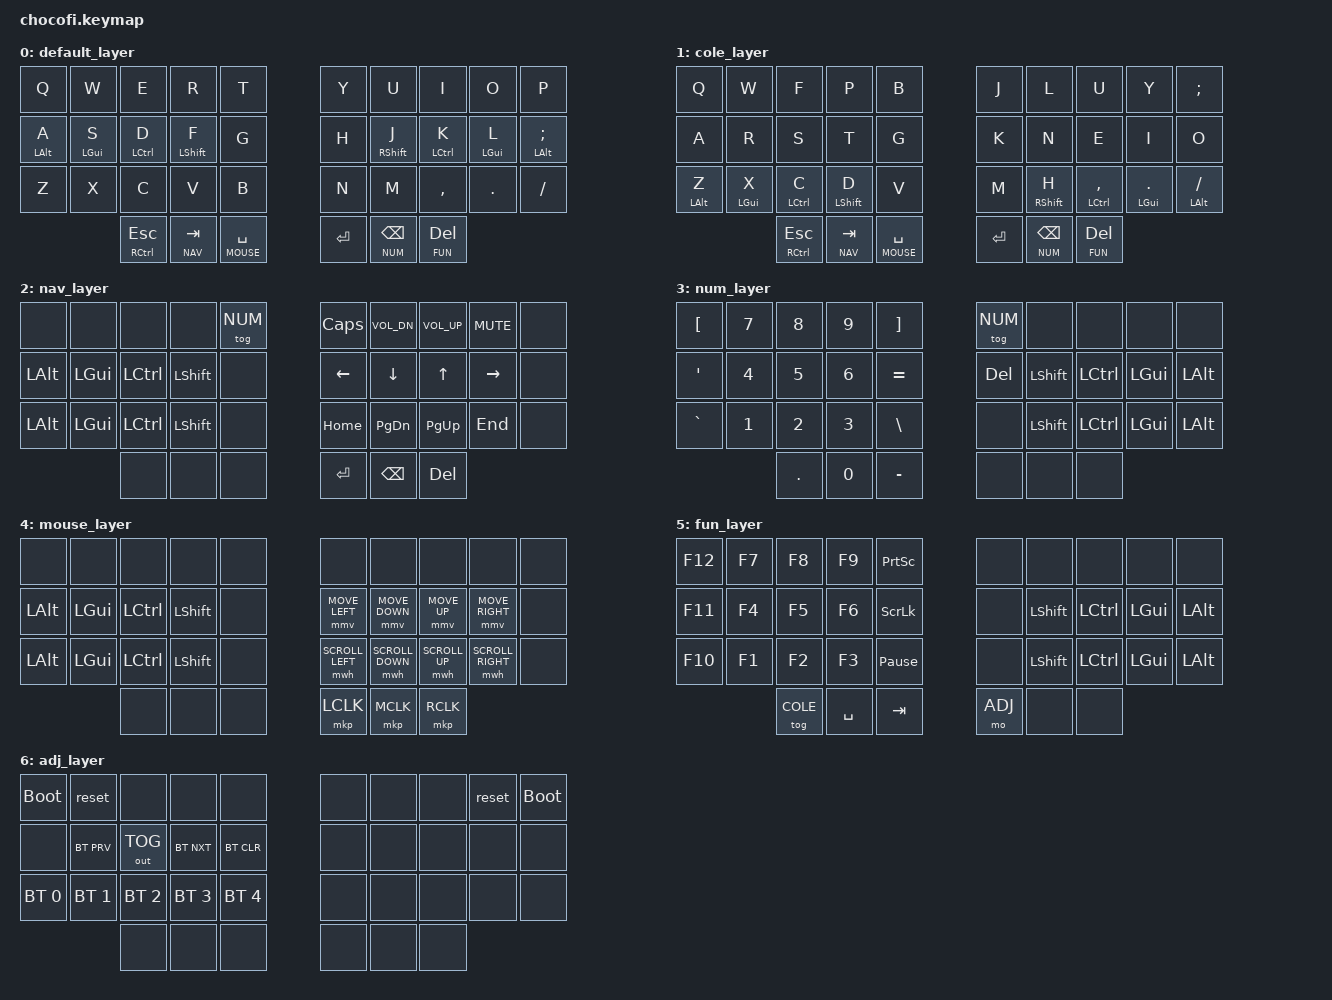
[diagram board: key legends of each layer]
/*
 * Copyright (c) 2020 The ZMK Contributors
 *
 * SPDX-License-Identifier: MIT
 */

#include <behaviors.dtsi>
#include <dt-bindings/zmk/keys.h>
#include <dt-bindings/zmk/bt.h>
#include <dt-bindings/zmk/outputs.h>
#include <dt-bindings/zmk/mouse.h>

#define BASE 0
#define COLE 1
/*#define QWER 2*/
#define NAV 2
#define NUM 3
#define MOUSE 4
#define FUN 5
#define ADJ 6

&caps_word {
        continue-list = <UNDERSCORE MINUS BACKSPACE>;
};

&mmv {
    time-to-max-speed-ms = <300>;
};

/ {        

        macros {
                my_macro: my_macro {
                        compatible = "zmk,behavior-macro";
                        label = "ZM_my_macro";
                        #binding-cells = <0>;
                        bindings = <&kp LEFT_BRACKET &kp RIGHT_BRACKET &kp LEFT>;
                };
        };

        behaviors {
                hm: homerow_mods {
                        compatible = "zmk,behavior-hold-tap";
                        label = "HOMEROW_MODS";
                        #binding-cells = <2>;
                        tapping-term-ms = <220>;
                        quick_tap_ms = <0>;
                        flavor = "tap-preferred";
                        bindings = <&kp>, <&kp>;
                };
        };
              
        combos {
                compatible = "zmk,combos";
                combo_capsword {
                        timeout-ms = <50>;
                        key-positions = <32 33> ;
                        bindings = <&caps_word>;
                };
                combo_excl {
                        timeout-ms = <50>;
                        key-positions = <0 1 2> ;
                        bindings = <&kp EXCL>;
                };
                combo_qmark {
                        timeout-ms = <50>;
                        key-positions = <7 8 9> ;
                        bindings = <&kp QMARK>;
                };
                combo_at {
                        timeout-ms = <50>;
                        key-positions = <10 11 12> ;
                        bindings = <&kp AT>;
                };
                combo_hash {
                        timeout-ms = <50>;
                        key-positions = <20 21 22> ;
                        bindings = <&kp HASH>;
                };
                combo_dollar {
                        timeout-ms = <50>;
                        key-positions = <2 3 4> ;
                        bindings = <&kp DOLLAR>;
                };
                combo_percent {
                        timeout-ms = <50>;
                        key-positions = <12 13 14> ;
                        bindings = <&kp PERCENT>;
                };
                combo_caret {
                        timeout-ms = <50>;
                        key-positions = <22 23 24> ;
                        bindings = <&kp CARET>;
                };
                combo_ampersand {
                        timeout-ms = <50>;
                        key-positions = <21 22 13> ;
                        bindings = <&kp AMPERSAND>;
                };
                combo_pipe {
                        timeout-ms = <50>;
                        key-positions = <11 22 23> ;
                        bindings = <&kp PIPE>;
                };
                combo_plus {
                        timeout-ms = <50>;
                        key-positions = <1 2 3> ;
                        bindings = <&kp PLUS>;
                };
                combo_underscore {
                        timeout-ms = <50>;
                        key-positions = <26 27 28> ;
                        bindings = <&kp UNDERSCORE>;
                };
                combo_minus {
                        timeout-ms = <50>;
                        key-positions = <6 7 8>;
                        bindings = <&kp MINUS>;
                };
                combo_equal {
                        timeout-ms = <50>;
                        key-positions = <16 17 18>;
                        bindings = <&kp EQUAL>;
                };
                combo_fslh {
                        timeout-ms = <50>;
                        key-positions = <26 27 18>;
                        bindings = <&kp FSLH>;
                };
                combo_bslh {
                        timeout-ms = <50>;
                        key-positions = <16 27 28>;
                        bindings = <&kp BSLH>;
                };
                combo_bscp {
                        timeout-ms = <50>;
                        key-positions = <16 17>;
                        bindings = <&kp BSPC>;
                };
                combo_del {
                        timeout-ms = <50>;
                        key-positions = <17 18>;
                        bindings = <&kp DEL>;
                };
                combo_sqt {
                        timeout-ms = <50>;
                        key-positions = <18 19>;
                        bindings = <&kp SQT>;
                };
                combo_lt {
                        timeout-ms = <50>;
                        key-positions = <4 14>;
                        bindings = <&kp LT>;
                };
                combo_gt {
                        timeout-ms = <50>;
                        key-positions = <5 15>;
                        bindings = <&kp GT>;
                };
                combo_lpar {
                        timeout-ms = <50>;
                        key-positions = <3 13>;
                        bindings = <&kp LPAR>;
                };
                combo_rpar {
                        timeout-ms = <50>;
                        key-positions = <6 16>;
                        bindings = <&kp RPAR>;
                };
                combo_lbrc {
                        timeout-ms = <50>;
                        key-positions = <2 12>;
                        bindings = <&kp LBRC>;
                };
                combo_rbrc {
                        timeout-ms = <50>;
                        key-positions = <7 17>;
                        bindings = <&kp RBRC>;
                };
                combo_lbkt {
                        timeout-ms = <50>;
                        key-positions = <1 11>;
                        bindings = <&kp LBKT>;
                };
                combo_rbkt {
                        timeout-ms = <50>;
                        key-positions = <8 18>;
                        bindings = <&kp RBKT>;
                };
        };
          
        keymap {
                compatible = "zmk,keymap";


                default_layer {
                        bindings = <
   &kp Q       &kp W       &kp E          &kp R          &kp T             &kp Y        &kp U         &kp I            &kp O          &kp P
   &hm LALT A  &hm LGUI S  &hm LCTRL D    &hm LSHFT F    &kp G             &kp H        &hm RSHFT J   &hm LCTRL K      &hm LGUI L     &hm LALT SEMI
   &kp Z       &kp X       &kp  C         &kp V          &kp B             &kp N        &kp M         &kp COMMA        &kp DOT        &kp FSLH
                           &mt RCTL ESC   &lt NAV TAB    &lt MOUSE SPACE   &kp RET      &lt NUM BSPC  &lt FUN DEL
                        >;
                };
 
                cole_layer {
                        bindings = <
   &kp Q       &kp W       &kp F          &kp P          &kp B             &kp J        &kp L         &kp U            &kp Y          &kp SEMI
   &kp A       &kp R       &kp S          &kp T          &kp G             &kp K        &kp N         &kp E            &kp I          &kp O
   &hm LALT Z  &hm LGUI X  &hm LCTRL C    &hm LSHFT D    &kp V             &kp M        &hm RSHFT H   &hm LCTRL COMMA  &hm LGUI DOT   &hm LALT FSLH
                           &mt RCTL ESC   &lt NAV TAB    &lt MOUSE SPACE   &kp RET      &lt NUM BSPC  &lt FUN DEL
                        >;
                };

                /*qwer_layer {*/
                        /*bindings = <*/
   /*&kp Q       &kp W       &kp E          &kp R          &kp T             &kp Y        &kp U         &kp I            &kp O          &kp P*/
   /*&kp A       &kp S       &kp D          &kp F          &kp G             &kp H        &kp J         &kp K            &kp L          &kp SEMI*/
   /*&hm LALT Z  &hm LGUI X  &hm LCTRL C    &hm LSHFT V    &mt RALT B        &mt RALT N   &hm RSHFT M   &hm LCTRL COMMA  &hm LGUI DOT   &hm LALT FSLH*/
                           /*&kp ESC        &lt NAV SPACE  &lt MOUSE TAB     &kp RET      &lt NUM BSPC  &lt FUN DEL*/
                        /*>;*/
                /*};*/

                nav_layer {
                        bindings = <
   &none     &none         &none          &none          &tog NUM          &kp CAPS     &kp C_VOL_DN  &kp C_VOL_UP     &kp K_MUTE     &none
   &kp LALT  &kp LGUI      &kp LCTRL      &kp LSHFT      &none             &kp LEFT     &kp DOWN      &kp UP           &kp RIGHT      &none
   &kp LALT  &kp LGUI      &kp LCTRL      &kp LSHFT      &none             &kp HOME     &kp PG_DN     &kp PG_UP        &kp END        &none
                           &none          &none          &none             &kp RET      &kp BSPC      &kp DEL
                        >;
                };

                num_layer {
                        bindings = <
   &kp LBKT    &kp N7      &kp N8         &kp N9         &kp RBKT          &tog NUM     &none         &none            &none          &none
   &kp SQT     &kp N4      &kp N5         &kp N6         &kp EQUAL         &kp DEL      &kp LSHFT     &kp LCTRL        &kp LGUI       &kp LALT
   &kp GRAVE   &kp N1      &kp N2         &kp N3         &kp BSLH          &none        &kp LSHFT     &kp LCTRL        &kp LGUI       &kp LALT
                           &kp DOT        &kp N0         &kp MINUS         &none        &none         &none
                        >;
                };

                mouse_layer {
                        bindings = <
   &none     &none         &none          &none          &none             &none             &none            &none          &none             &none
   &kp LALT  &kp LGUI      &kp LCTRL      &kp LSHFT      &none             &mmv MOVE_LEFT    &mmv MOVE_DOWN   &mmv MOVE_UP   &mmv MOVE_RIGHT   &none
   &kp LALT  &kp LGUI      &kp LCTRL      &kp LSHFT      &none             &mwh SCROLL_LEFT  &mwh SCROLL_DOWN &mwh SCROLL_UP &mwh SCROLL_RIGHT &none
                           &none          &none          &none             &mkp LCLK         &mkp MCLK        &mkp RCLK
                        >;
                };

                fun_layer {
                        bindings = <
   &kp F12     &kp F7      &kp F8         &kp F9         &kp PSCRN         &none        &none         &none            &none          &none
   &kp F11     &kp F4      &kp F5         &kp F6         &kp SLCK          &none        &kp LSHFT     &kp LCTRL        &kp LGUI       &kp LALT
   &kp F10     &kp F1      &kp F2         &kp F3         &kp PAUSE_BREAK   &none        &kp LSHFT     &kp LCTRL        &kp LGUI       &kp LALT
                           &tog COLE      &kp SPACE      &kp TAB           &mo ADJ      &none         &none
                        >;
                };

                adj_layer {
                        bindings = <
   &bootloader   &reset        &none         &none        &none            &none        &none           &none           &reset          &bootloader
   &none         &bt BT_PRV    &out OUT_TOG  &bt BT_NXT   &bt BT_CLR       &none        &none           &none           &none           &none
   &bt BT_SEL 0  &bt BT_SEL 1  &bt BT_SEL 2  &bt BT_SEL 3 &bt BT_SEL 4     &none        &none           &none           &none           &none
                               &none         &none        &none            &none        &none           &none
                        >;
                };
        };
};
